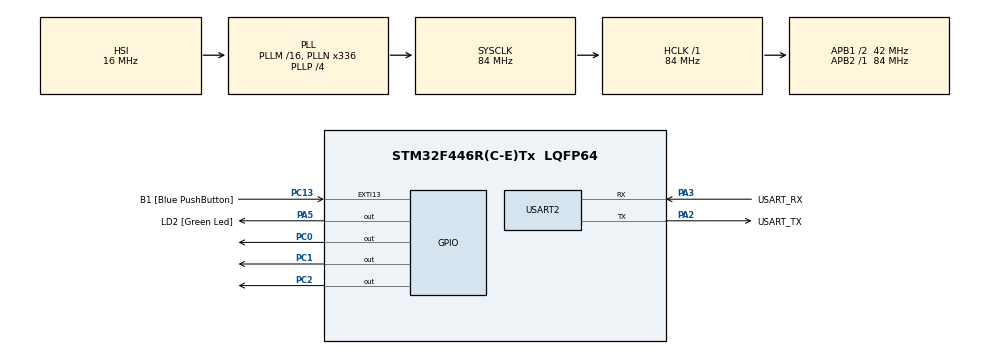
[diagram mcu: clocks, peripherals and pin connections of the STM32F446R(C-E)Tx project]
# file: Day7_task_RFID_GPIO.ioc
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Mcu.Family=STM32F4
Mcu.Name=STM32F446R(C-E)Tx
Mcu.Package=LQFP64
NVIC.PriorityGroup=NVIC_PRIORITYGROUP_0
PA13.GPIO_Label=TMS
PA13.Mode=Serial_Wire
PA13.Signal=SYS_JTMS-SWDIO
PA14.GPIO_Label=TCK
PA14.Mode=Serial_Wire
PA14.Signal=SYS_JTCK-SWCLK
PA2.GPIO_Label=USART_TX
PA2.Mode=Asynchronous
PA2.Signal=USART2_TX
PA3.GPIO_Label=USART_RX
PA3.Mode=Asynchronous
PA3.Signal=USART2_RX
PA5.GPIO_Label=LD2 [Green Led]
PA5.Signal=GPIO_Output
PB3.GPIO_Label=SWO
PB3.Signal=SYS_JTDO-SWO
PC0.Signal=GPIO_Output
PC1.Signal=GPIO_Output
PC13.GPIO_Label=B1 [Blue PushButton]
PC13.GPIO_ModeDefaultEXTI=GPIO_MODE_IT_FALLING
PC13.Signal=GPXTI13
PC14-OSC32_IN.Mode=LSE-External-Oscillator
PC14-OSC32_IN.Signal=RCC_OSC32_IN
PC15-OSC32_OUT.Mode=LSE-External-Oscillator
PC15-OSC32_OUT.Signal=RCC_OSC32_OUT
PC2.Signal=GPIO_Output
PH0-OSC_IN.Mode=HSE-External-Oscillator
PH0-OSC_IN.Signal=RCC_OSC_IN
PH1-OSC_OUT.Mode=HSE-External-Oscillator
PH1-OSC_OUT.Signal=RCC_OSC_OUT
ProjectManager.HeapSize=0x200
ProjectManager.StackSize=0x400
ProjectManager.TargetToolchain=STM32CubeIDE
RCC.48MHZClocksFreq_Value=84000000
RCC.AHBFreq_Value=84000000
RCC.APB1CLKDivider=RCC_HCLK_DIV2
RCC.APB1Freq_Value=42000000
RCC.APB1TimFreq_Value=84000000
RCC.APB2Freq_Value=84000000
RCC.APB2TimFreq_Value=84000000
RCC.CortexFreq_Value=84000000
RCC.FLatency-AdvancedSettings=FLASH_LATENCY_2
RCC.HCLKFreq_Value=84000000
RCC.HSE_VALUE=8000000
RCC.HSI_VALUE=16000000
RCC.PLLN=336
RCC.PLLP=RCC_PLLP_DIV4
RCC.SYSCLKFreq_VALUE=84000000
RCC.SYSCLKSource=RCC_SYSCLKSOURCE_PLLCLK
RCC.USBFreq_Value=168000000
RCC.VCOOutputFreq_Value=336000000
USART2.VirtualMode=VM_ASYNC
board=NUCLEO-F446RE

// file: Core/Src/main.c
/* USER CODE BEGIN Header */
/**
  ******************************************************************************
  * @file           : main.c
  * @brief          : Main program body
  ******************************************************************************
  * @attention
  *
  * Copyright (c) 2024 STMicroelectronics.
  * All rights reserved.
  *
  * This software is licensed under terms that can be found in the LICENSE file
  * in the root directory of this software component.
  * If no LICENSE file comes with this software, it is provided AS-IS.
  *
  ******************************************************************************
  */

/*SPI CONNECTION:
 *
 * MOSI----->PA7
 * MISO----->PA6
 * RST------>PA8
 * SCK------>PA5
 * SDA/CS------>PB0
 * VCC--------->3.3V
 *
 *
 ***************************
 * I2C_LCD CONNECTION:
 *
 * SDA-------->PB9
 * SCL-------->PB8
 * VCC-------->5V
 *
 ***************************
 *
 */

/* USER CODE END Header */
#include "main.h"
#include <string.h>

/* USER CODE BEGIN Includes */
#include "LiquidCrystal_PCF8574.h"
#include "delay.h"
#include "stdio.h"
#include "RFID.h"

/* USER CODE END Includes */

/* USER CODE BEGIN PTD */
// Define the number of RFID IDs
#define NUM_RFID_IDS 5

// Define the LED GPIO pins
#define LED1_PIN GPIO_PIN_0  // PC0
#define LED2_PIN GPIO_PIN_1  // PC1
#define LED3_PIN GPIO_PIN_2  // PC3

// Define the LED GPIO port
#define LED_GPIO_PORT GPIOC

// Define the RFID entry structure
typedef struct {
    uint8_t id[4];
    char name[16];
} RFIDEntry;

// Define the RFID entries
RFIDEntry rfid_lookup[NUM_RFID_IDS] = {
    {{0x5C, 0xF2, 0xF8, 0x37}, "AKHIL"},
    {{0xC3, 0x67, 0x7C, 0x15}, "GET INSIDE"},
    {{0xB3, 0x1E, 0x80, 0x17}, "HI DEVA"},
    {{0x33, 0x80, 0xAD, 0xD}, "hi akhil"},
    {{0xA3, 0x1F, 0xEF, 0x11}, "hi boobathi"}
};

/* USER CODE END PTD */

UART_HandleTypeDef huart2;

void SystemClock_Config(void);
static void MX_GPIO_Init(void);
static void MX_USART2_UART_Init(void);
/* USER CODE BEGIN PFP */
void turn_on_led(uint8_t *rfid_id);
void clear_leds(void);
void display_name_for_rfid(uint8_t *rfid_id);
void system_init(void);
/* USER CODE END PFP */

int main(void)
{

  /* MCU Configuration--------------------------------------------------------*/

  /* Reset of all peripherals, Initializes the Flash interface and the Systick. */
  HAL_Init();

  /* Configure the system clock */
  SystemClock_Config();

  /* Initialize all configured peripherals */
  MX_GPIO_Init();
  MX_USART2_UART_Init();
  system_init();

     // Display Initial Message
     setCursor(0, 0);
     lcd_send_string("SCAN TO ACCESS!");
     setCursor(0, 1);
     lcd_send_string("TAP THE CARD");

     uint8_t rfid_id[4];
  /* Infinite loop */
  while (1)
  {
	  if (rc522_checkCard(rfid_id)) {
	             clear_leds();  // Clear all LEDs before turning on the new one
	             turn_on_led(rfid_id);
	             display_name_for_rfid(rfid_id);
	             delay(1000);  // Delay to avoid continuous updates
	         }
	         delay(100);
  }
}

// Function to initialize the LEDs
void init_leds(void) {
    GPIO_InitTypeDef GPIO_InitStruct = {0};

    // Enable the GPIOC clock
    __HAL_RCC_GPIOC_CLK_ENABLE();

    // Configure PC0, PC1, and PC3 as output
    GPIO_InitStruct.Pin = LED1_PIN | LED2_PIN | LED3_PIN;
    GPIO_InitStruct.Mode = GPIO_MODE_OUTPUT_PP;
    GPIO_InitStruct.Pull = GPIO_NOPULL;
    GPIO_InitStruct.Speed = GPIO_SPEED_FREQ_LOW;
    HAL_GPIO_Init(LED_GPIO_PORT, &GPIO_InitStruct);

    // Initially turn off all LEDs
    HAL_GPIO_WritePin(LED_GPIO_PORT, LED1_PIN | LED2_PIN | LED3_PIN, GPIO_PIN_RESET);
}

// Function to turn on the LED based on RFID ID
void turn_on_led(uint8_t *rfid_id) {
    if (memcmp(rfid_id, rfid_lookup[0].id, 4) == 0) {
        HAL_GPIO_WritePin(LED_GPIO_PORT, LED1_PIN, GPIO_PIN_SET);  // Turn on LED1 (PC0)
        printf("LED1 turned on\n");
    } else if (memcmp(rfid_id, rfid_lookup[1].id, 4) == 0) {
        HAL_GPIO_WritePin(LED_GPIO_PORT, LED2_PIN, GPIO_PIN_SET);  // Turn on LED2 (PC1)
        printf("LED2 turned on\n");
    } else if (memcmp(rfid_id, rfid_lookup[2].id, 4) == 0) {
        HAL_GPIO_WritePin(LED_GPIO_PORT, LED3_PIN, GPIO_PIN_SET);  // Turn on LED3 (PC3)
        printf("LED3 turned on\n");
    } else {
        printf("Unknown RFID\n");
    }
}

// Function to clear all LEDs
void clear_leds(void) {
    HAL_GPIO_WritePin(LED_GPIO_PORT, LED1_PIN | LED2_PIN | LED3_PIN, GPIO_PIN_RESET);
}

// Function to display RFID information on the LCD
void display_name_for_rfid(uint8_t *rfid_id) {
    char name[16] = "Unknown";
    for (int i = 0; i < NUM_RFID_IDS; i++) {
        if (memcmp(rfid_id, rfid_lookup[i].id, 4) == 0) {
            strncpy(name, rfid_lookup[i].name, sizeof(name) - 1);
            break;
        }
    }

    lcd_clear();
    setCursor(0, 0);
    lcd_send_string("WELCOME :");
    setCursor(0, 1);
    lcd_send_string(name);
}

// Function to initialize the system
void system_init(void) {
    systick_init_ms(16000000);
    rc522_init();
    lcd_init();
    init_leds();
}
void SystemClock_Config(void)
{
  RCC_OscInitTypeDef RCC_OscInitStruct = {0};
  RCC_ClkInitTypeDef RCC_ClkInitStruct = {0};

  /** Configure the main internal regulator output voltage
  */
  __HAL_RCC_PWR_CLK_ENABLE();
  __HAL_PWR_VOLTAGESCALING_CONFIG(PWR_REGULATOR_VOLTAGE_SCALE3);

  /** Initializes the RCC Oscillators according to the specified parameters
  * in the RCC_OscInitTypeDef structure.
  */
  RCC_OscInitStruct.OscillatorType = RCC_OSCILLATORTYPE_HSI;
  RCC_OscInitStruct.HSIState = RCC_HSI_ON;
  RCC_OscInitStruct.HSICalibrationValue = RCC_HSICALIBRATION_DEFAULT;
  RCC_OscInitStruct.PLL.PLLState = RCC_PLL_ON;
  RCC_OscInitStruct.PLL.PLLSource = RCC_PLLSOURCE_HSI;
  RCC_OscInitStruct.PLL.PLLM = 16;
  RCC_OscInitStruct.PLL.PLLN = 336;
  RCC_OscInitStruct.PLL.PLLP = RCC_PLLP_DIV4;
  RCC_OscInitStruct.PLL.PLLQ = 2;
  RCC_OscInitStruct.PLL.PLLR = 2;
  if (HAL_RCC_OscConfig(&RCC_OscInitStruct) != HAL_OK)
  {
    Error_Handler();
  }

  /** Initializes the CPU, AHB and APB buses clocks
  */
  RCC_ClkInitStruct.ClockType = RCC_CLOCKTYPE_HCLK|RCC_CLOCKTYPE_SYSCLK
                              |RCC_CLOCKTYPE_PCLK1|RCC_CLOCKTYPE_PCLK2;
  RCC_ClkInitStruct.SYSCLKSource = RCC_SYSCLKSOURCE_PLLCLK;
  RCC_ClkInitStruct.AHBCLKDivider = RCC_SYSCLK_DIV1;
  RCC_ClkInitStruct.APB1CLKDivider = RCC_HCLK_DIV2;
  RCC_ClkInitStruct.APB2CLKDivider = RCC_HCLK_DIV1;

  if (HAL_RCC_ClockConfig(&RCC_ClkInitStruct, FLASH_LATENCY_2) != HAL_OK)
  {
    Error_Handler();
  }
}

static void MX_USART2_UART_Init(void)
{

  huart2.Instance = USART2;
  huart2.Init.BaudRate = 115200;
  huart2.Init.WordLength = UART_WORDLENGTH_8B;
  huart2.Init.StopBits = UART_STOPBITS_1;
  huart2.Init.Parity = UART_PARITY_NONE;
  huart2.Init.Mode = UART_MODE_TX_RX;
  huart2.Init.HwFlowCtl = UART_HWCONTROL_NONE;
  huart2.Init.OverSampling = UART_OVERSAMPLING_16;
  if (HAL_UART_Init(&huart2) != HAL_OK)
  {
    Error_Handler();
  }

}

static void MX_GPIO_Init(void)
{
  GPIO_InitTypeDef GPIO_InitStruct = {0};

  /* GPIO Ports Clock Enable */
  __HAL_RCC_GPIOC_CLK_ENABLE();
  __HAL_RCC_GPIOH_CLK_ENABLE();
  __HAL_RCC_GPIOA_CLK_ENABLE();
  __HAL_RCC_GPIOB_CLK_ENABLE();

  /*Configure GPIO pin Output Level */
  HAL_GPIO_WritePin(GPIOC, GPIO_PIN_0|GPIO_PIN_1|GPIO_PIN_2, GPIO_PIN_RESET);

  /*Configure GPIO pin Output Level */
  HAL_GPIO_WritePin(LD2_GPIO_Port, LD2_Pin, GPIO_PIN_RESET);

  /*Configure GPIO pin : B1_Pin */
  GPIO_InitStruct.Pin = B1_Pin;
  GPIO_InitStruct.Mode = GPIO_MODE_IT_FALLING;
  GPIO_InitStruct.Pull = GPIO_NOPULL;
  HAL_GPIO_Init(B1_GPIO_Port, &GPIO_InitStruct);

  /*Configure GPIO pins : PC0 PC1 PC2 */
  GPIO_InitStruct.Pin = GPIO_PIN_0|GPIO_PIN_1|GPIO_PIN_2;
  GPIO_InitStruct.Mode = GPIO_MODE_OUTPUT_PP;
  GPIO_InitStruct.Pull = GPIO_NOPULL;
  GPIO_InitStruct.Speed = GPIO_SPEED_FREQ_LOW;
  HAL_GPIO_Init(GPIOC, &GPIO_InitStruct);

  /*Configure GPIO pin : LD2_Pin */
  GPIO_InitStruct.Pin = LD2_Pin;
  GPIO_InitStruct.Mode = GPIO_MODE_OUTPUT_PP;
  GPIO_InitStruct.Pull = GPIO_NOPULL;
  GPIO_InitStruct.Speed = GPIO_SPEED_FREQ_LOW;
  HAL_GPIO_Init(LD2_GPIO_Port, &GPIO_InitStruct);

}

void Error_Handler(void)
{
  __disable_irq();
  while (1)
  {
  }
}
